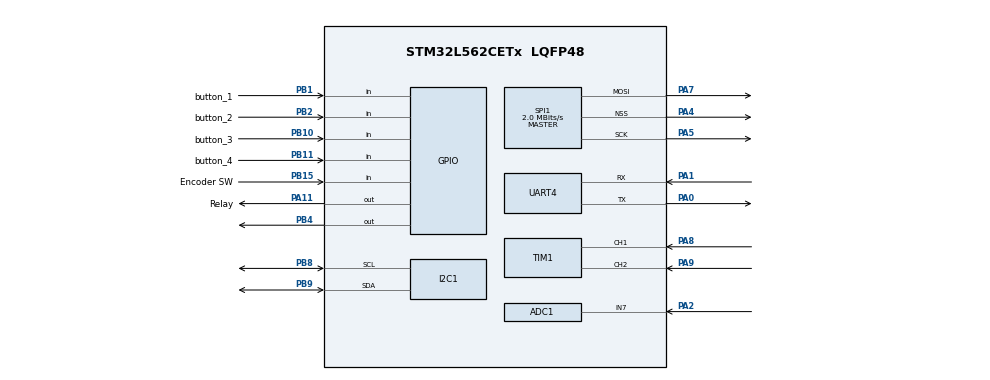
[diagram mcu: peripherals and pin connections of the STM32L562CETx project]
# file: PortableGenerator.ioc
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ADC1.Channel-2\#ChannelRegularConversion=ADC_CHANNEL_7
ADC1.ContinuousConvMode=ENABLE
ADC1.NbrOfConversion=1
ADC1.NbrOfConversionFlag=1
ADC1.OffsetNumber-2\#ChannelRegularConversion=ADC_OFFSET_NONE
ADC1.Overrun=ADC_OVR_DATA_OVERWRITTEN
ADC1.Rank-2\#ChannelRegularConversion=1
ADC1.SamplingTime-2\#ChannelRegularConversion=ADC_SAMPLETIME_2CYCLES_5
ADC1.master=1
Mcu.Family=STM32L5
Mcu.Name=STM32L562CETx
Mcu.Package=LQFP48
NVIC.ADC1_2_IRQn=true\:0\:0\:false\:false\:true\:true\:true\:true
NVIC.PriorityGroup=NVIC_PRIORITYGROUP_3
PA0.Mode=Asynchronous
PA0.Signal=UART4_TX
PA1.Mode=Asynchronous
PA1.Signal=UART4_RX
PA11.GPIO_Label=Relay
PA11.Signal=GPIO_Output
PA13\ (JTMS/SWDIO).Mode=JTAG_4_pins
PA13\ (JTMS/SWDIO).Signal=DEBUG_JTMS-SWDIO
PA14\ (JTCK/SWCLK).Mode=JTAG_4_pins
PA14\ (JTCK/SWCLK).Signal=DEBUG_JTCK-SWCLK
PA15\ (JTDI).Mode=JTAG_4_pins
PA15\ (JTDI).Signal=DEBUG_JTDI
PA2.Signal=ADCx_IN7
PA4.Mode=NSS_Signal_Hard_Output
PA4.Signal=SPI1_NSS
PA5.Mode=TX_Only_Simplex_Unidirect_Master
PA5.Signal=SPI1_SCK
PA7.Mode=TX_Only_Simplex_Unidirect_Master
PA7.Signal=SPI1_MOSI
PA8.Signal=S_TIM1_CH1
PA9.Signal=S_TIM1_CH2
PB1.GPIO_Label=button_1
PB1.Signal=GPIO_Input
PB10.GPIO_Label=button_3
PB10.Signal=GPIO_Input
PB11.GPIO_Label=button_4
PB11.Signal=GPIO_Input
PB15.GPIO_Label=Encoder SW
PB15.Signal=GPIO_Input
PB2.GPIO_Label=button_2
PB2.Signal=GPIO_Input
PB3\ (JTDO/TRACESWO).Mode=JTAG_4_pins
PB3\ (JTDO/TRACESWO).Signal=DEBUG_JTDO-SWO
PB4\ (NJTRST).Signal=GPIO_Output
PB8.Mode=I2C
PB8.Signal=I2C1_SCL
PB9.Mode=I2C
PB9.Signal=I2C1_SDA
PH0-OSC_IN\ (PH0).Mode=HSE-External-Oscillator
PH0-OSC_IN\ (PH0).Signal=RCC_OSC_IN
PH1-OSC_OUT\ (PH1).Mode=HSE-External-Oscillator
PH1-OSC_OUT\ (PH1).Signal=RCC_OSC_OUT
ProjectManager.HeapSize=0x200
ProjectManager.StackSize=0x400
ProjectManager.TargetToolchain=STM32CubeIDE
RCC.ADCFreq_Value=32000000
RCC.HSE_VALUE=16000000
RCC.HSI48_VALUE=48000000
RCC.HSI_VALUE=16000000
RCC.LSE_VALUE=32768
RCC.MSI_VALUE=4000000
RCC.PLLSAI1N=16
RCC.USBFreq_Value=32000000
RCC.VCOOutputFreq_Value=32000000
SH.ADCx_IN7.0=ADC1_IN7,IN7-Single-Ended
SH.S_TIM1_CH1.0=TIM1_CH1,Encoder_Interface
SH.S_TIM1_CH2.0=TIM1_CH2,Encoder_Interface
SPI1.CalculateBaudRate=2.0 MBits/s
SPI1.Direction=SPI_DIRECTION_2LINES
SPI1.Mode=SPI_MODE_MASTER
SPI1.VirtualNSS=VM_NSSHARD
SPI1.VirtualType=VM_MASTER
TIM1.EncoderMode=TIM_ENCODERMODE_TI12
TIM1.IC1Polarity=TIM_ICPOLARITY_FALLING
TIM1.IC2Polarity=TIM_ICPOLARITY_FALLING
board=custom

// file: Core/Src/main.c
/* USER CODE BEGIN Header */
/**
 ******************************************************************************
 * @file           : main.c
 * @brief          : Main program body
 ******************************************************************************
 * @attention
 *
 * Copyright (c) 2023 STMicroelectronics.
 * All rights reserved.
 *
 * This software is licensed under terms that can be found in the LICENSE file
 * in the root directory of this software component.
 * If no LICENSE file comes with this software, it is provided AS-IS.
 *
 ******************************************************************************
 */
/* USER CODE END Header */
#include "main.h"

/* USER CODE BEGIN Includes */
#include <string.h>
#include <stdio.h>
#include "liquidcrystal_i2c.h"
/* USER CODE END Includes */

ADC_HandleTypeDef hadc1;

I2C_HandleTypeDef hi2c1;

SPI_HandleTypeDef hspi1;

TIM_HandleTypeDef htim1;

UART_HandleTypeDef huart4;

/* USER CODE BEGIN PV */

							//Impedance switch state
uint8_t currentstate=0;

							//Rotary encoder
uint32_t encoderValue = 0;

/* USER CODE END PV */

void SystemClock_Config(void);
static void MX_GPIO_Init(void);
static void MX_TIM1_Init(void);
static void MX_I2C1_Init(void);
static void MX_UART4_Init(void);
static void MX_SPI1_Init(void);
static void MX_ADC1_Init(void);

/* USER CODE BEGIN 0 */

								//ADC
	uint16_t adc_value;
	uint8_t battery_voltage;
	float adc_voltage(int adc_value)
	{
		float reference=3.0;
		float adc_voltage=(adc_value/4095)*reference;

		return adc_voltage;
	}

								//Rotary encoder

	void HAL_TIM_IC_CaptureCallback(TIM_HandleTypeDef *htim)
	{
		encoderValue = __HAL_TIM_GET_COUNTER(&htim1);
	}

/* USER CODE END 0 */

int main(void)
{
  /* USER CODE BEGIN 1 */

					//Impedance Switch toggle state function
	void ToggleState(void)
	{
		currentstate=1-currentstate;
	}

  /* USER CODE END 1 */

  /* MCU Configuration--------------------------------------------------------*/

  /* Reset of all peripherals, Initializes the Flash interface and the Systick. */
  HAL_Init();

  /* Configure the system clock */
  SystemClock_Config();

  /* Initialize all configured peripherals */
  MX_GPIO_Init();
  MX_TIM1_Init();
  MX_I2C1_Init();
  MX_UART4_Init();
  MX_SPI1_Init();
  MX_ADC1_Init();
  /* USER CODE BEGIN 2 */

  	  	  //LCD Display initialization
  HD44780_Init(2);

  	  	  //Rotary encoder initialization
  HAL_TIM_Encoder_Start_IT(&htim1, TIM_CHANNEL_ALL);

  /* USER CODE END 2 */

  /* Infinite loop */
  /* USER CODE BEGIN WHILE */
	while (1)
	{

								//Impedance switch
	if (HAL_GPIO_ReadPin(GPIOB, GPIO_PIN_11)==GPIO_PIN_RESET)
	{
		HAL_GPIO_TogglePin(GPIOA, GPIO_PIN_11);
		ToggleState();
		HAL_Delay(500);

		if (currentstate == 0)
		{
			HD44780_SetCursor(10,1);
			HD44780_PrintStr("HighZ");
		}
		else
		{
			HD44780_SetCursor(12,1);
			HD44780_PrintStr("50Ω");
		}

	}

							//Battery voltage measurement & low battery warning
	HAL_ADC_Start(&hadc1);
	HAL_ADC_PollForConversion(&hadc1, HAL_MAX_DELAY);
	adc_value=HAL_ADC_GetValue(&hadc1);
	battery_voltage=adc_voltage(adc_value);

	if (battery_voltage <= 3.5)
	{
		HAL_GPIO_WritePin(GPIOB, GPIO_PIN_4, GPIO_PIN_SET);
		//HAL_GPIO_TogglePin(GPIOB, GPIO_PIN_4);
		HAL_Delay(1000);
	}
	else
	{
		HAL_GPIO_WritePin(GPIOB, GPIO_PIN_4, GPIO_PIN_RESET);
		HAL_Delay(1000);
	}

    /* USER CODE END WHILE */

	}
}

void SystemClock_Config(void)
{
  RCC_OscInitTypeDef RCC_OscInitStruct = {0};
  RCC_ClkInitTypeDef RCC_ClkInitStruct = {0};

  /** Configure the main internal regulator output voltage
  */
  if (HAL_PWREx_ControlVoltageScaling(PWR_REGULATOR_VOLTAGE_SCALE2) != HAL_OK)
  {
    Error_Handler();
  }

  /** Initializes the RCC Oscillators according to the specified parameters
  * in the RCC_OscInitTypeDef structure.
  */
  RCC_OscInitStruct.OscillatorType = RCC_OSCILLATORTYPE_MSI;
  RCC_OscInitStruct.MSIState = RCC_MSI_ON;
  RCC_OscInitStruct.MSICalibrationValue = RCC_MSICALIBRATION_DEFAULT;
  RCC_OscInitStruct.MSIClockRange = RCC_MSIRANGE_6;
  RCC_OscInitStruct.PLL.PLLState = RCC_PLL_NONE;
  if (HAL_RCC_OscConfig(&RCC_OscInitStruct) != HAL_OK)
  {
    Error_Handler();
  }

  /** Initializes the CPU, AHB and APB buses clocks
  */
  RCC_ClkInitStruct.ClockType = RCC_CLOCKTYPE_HCLK|RCC_CLOCKTYPE_SYSCLK
                              |RCC_CLOCKTYPE_PCLK1|RCC_CLOCKTYPE_PCLK2;
  RCC_ClkInitStruct.SYSCLKSource = RCC_SYSCLKSOURCE_MSI;
  RCC_ClkInitStruct.AHBCLKDivider = RCC_SYSCLK_DIV1;
  RCC_ClkInitStruct.APB1CLKDivider = RCC_HCLK_DIV1;
  RCC_ClkInitStruct.APB2CLKDivider = RCC_HCLK_DIV1;

  if (HAL_RCC_ClockConfig(&RCC_ClkInitStruct, FLASH_LATENCY_0) != HAL_OK)
  {
    Error_Handler();
  }
}

static void MX_ADC1_Init(void)
{

  ADC_MultiModeTypeDef multimode = {0};
  ADC_ChannelConfTypeDef sConfig = {0};

  /** Common config
  */
  hadc1.Instance = ADC1;
  hadc1.Init.ClockPrescaler = ADC_CLOCK_ASYNC_DIV1;
  hadc1.Init.Resolution = ADC_RESOLUTION_12B;
  hadc1.Init.DataAlign = ADC_DATAALIGN_RIGHT;
  hadc1.Init.ScanConvMode = ADC_SCAN_DISABLE;
  hadc1.Init.EOCSelection = ADC_EOC_SINGLE_CONV;
  hadc1.Init.LowPowerAutoWait = DISABLE;
  hadc1.Init.ContinuousConvMode = ENABLE;
  hadc1.Init.NbrOfConversion = 1;
  hadc1.Init.DiscontinuousConvMode = DISABLE;
  hadc1.Init.ExternalTrigConv = ADC_SOFTWARE_START;
  hadc1.Init.ExternalTrigConvEdge = ADC_EXTERNALTRIGCONVEDGE_NONE;
  hadc1.Init.DMAContinuousRequests = DISABLE;
  hadc1.Init.Overrun = ADC_OVR_DATA_OVERWRITTEN;
  hadc1.Init.OversamplingMode = DISABLE;
  if (HAL_ADC_Init(&hadc1) != HAL_OK)
  {
    Error_Handler();
  }

  /** Configure the ADC multi-mode
  */
  multimode.Mode = ADC_MODE_INDEPENDENT;
  if (HAL_ADCEx_MultiModeConfigChannel(&hadc1, &multimode) != HAL_OK)
  {
    Error_Handler();
  }

  /** Configure Regular Channel
  */
  sConfig.Channel = ADC_CHANNEL_7;
  sConfig.Rank = ADC_REGULAR_RANK_1;
  sConfig.SamplingTime = ADC_SAMPLETIME_2CYCLES_5;
  sConfig.SingleDiff = ADC_SINGLE_ENDED;
  sConfig.OffsetNumber = ADC_OFFSET_NONE;
  sConfig.Offset = 0;
  if (HAL_ADC_ConfigChannel(&hadc1, &sConfig) != HAL_OK)
  {
    Error_Handler();
  }

}

static void MX_I2C1_Init(void)
{

  hi2c1.Instance = I2C1;
  hi2c1.Init.Timing = 0x00000E14;
  hi2c1.Init.OwnAddress1 = 0;
  hi2c1.Init.AddressingMode = I2C_ADDRESSINGMODE_7BIT;
  hi2c1.Init.DualAddressMode = I2C_DUALADDRESS_DISABLE;
  hi2c1.Init.OwnAddress2 = 0;
  hi2c1.Init.OwnAddress2Masks = I2C_OA2_NOMASK;
  hi2c1.Init.GeneralCallMode = I2C_GENERALCALL_DISABLE;
  hi2c1.Init.NoStretchMode = I2C_NOSTRETCH_DISABLE;
  if (HAL_I2C_Init(&hi2c1) != HAL_OK)
  {
    Error_Handler();
  }

  /** Configure Analogue filter
  */
  if (HAL_I2CEx_ConfigAnalogFilter(&hi2c1, I2C_ANALOGFILTER_ENABLE) != HAL_OK)
  {
    Error_Handler();
  }

  /** Configure Digital filter
  */
  if (HAL_I2CEx_ConfigDigitalFilter(&hi2c1, 0) != HAL_OK)
  {
    Error_Handler();
  }

}

static void MX_SPI1_Init(void)
{

  /* SPI1 parameter configuration*/
  hspi1.Instance = SPI1;
  hspi1.Init.Mode = SPI_MODE_MASTER;
  hspi1.Init.Direction = SPI_DIRECTION_2LINES;
  hspi1.Init.DataSize = SPI_DATASIZE_4BIT;
  hspi1.Init.CLKPolarity = SPI_POLARITY_LOW;
  hspi1.Init.CLKPhase = SPI_PHASE_1EDGE;
  hspi1.Init.NSS = SPI_NSS_HARD_OUTPUT;
  hspi1.Init.BaudRatePrescaler = SPI_BAUDRATEPRESCALER_2;
  hspi1.Init.FirstBit = SPI_FIRSTBIT_MSB;
  hspi1.Init.TIMode = SPI_TIMODE_DISABLE;
  hspi1.Init.CRCCalculation = SPI_CRCCALCULATION_DISABLE;
  hspi1.Init.CRCPolynomial = 7;
  hspi1.Init.CRCLength = SPI_CRC_LENGTH_DATASIZE;
  hspi1.Init.NSSPMode = SPI_NSS_PULSE_ENABLE;
  if (HAL_SPI_Init(&hspi1) != HAL_OK)
  {
    Error_Handler();
  }

}

static void MX_TIM1_Init(void)
{

  TIM_Encoder_InitTypeDef sConfig = {0};
  TIM_MasterConfigTypeDef sMasterConfig = {0};

  htim1.Instance = TIM1;
  htim1.Init.Prescaler = 0;
  htim1.Init.CounterMode = TIM_COUNTERMODE_UP;
  htim1.Init.Period = 65535;
  htim1.Init.ClockDivision = TIM_CLOCKDIVISION_DIV1;
  htim1.Init.RepetitionCounter = 0;
  htim1.Init.AutoReloadPreload = TIM_AUTORELOAD_PRELOAD_DISABLE;
  sConfig.EncoderMode = TIM_ENCODERMODE_TI12;
  sConfig.IC1Polarity = TIM_ICPOLARITY_FALLING;
  sConfig.IC1Selection = TIM_ICSELECTION_DIRECTTI;
  sConfig.IC1Prescaler = TIM_ICPSC_DIV1;
  sConfig.IC1Filter = 0;
  sConfig.IC2Polarity = TIM_ICPOLARITY_FALLING;
  sConfig.IC2Selection = TIM_ICSELECTION_DIRECTTI;
  sConfig.IC2Prescaler = TIM_ICPSC_DIV1;
  sConfig.IC2Filter = 0;
  if (HAL_TIM_Encoder_Init(&htim1, &sConfig) != HAL_OK)
  {
    Error_Handler();
  }
  sMasterConfig.MasterOutputTrigger = TIM_TRGO_RESET;
  sMasterConfig.MasterOutputTrigger2 = TIM_TRGO2_RESET;
  sMasterConfig.MasterSlaveMode = TIM_MASTERSLAVEMODE_DISABLE;
  if (HAL_TIMEx_MasterConfigSynchronization(&htim1, &sMasterConfig) != HAL_OK)
  {
    Error_Handler();
  }

}

static void MX_UART4_Init(void)
{

  huart4.Instance = UART4;
  huart4.Init.BaudRate = 115200;
  huart4.Init.WordLength = UART_WORDLENGTH_8B;
  huart4.Init.StopBits = UART_STOPBITS_1;
  huart4.Init.Parity = UART_PARITY_NONE;
  huart4.Init.Mode = UART_MODE_TX_RX;
  huart4.Init.HwFlowCtl = UART_HWCONTROL_NONE;
  huart4.Init.OverSampling = UART_OVERSAMPLING_16;
  huart4.Init.OneBitSampling = UART_ONE_BIT_SAMPLE_DISABLE;
  huart4.Init.ClockPrescaler = UART_PRESCALER_DIV1;
  huart4.AdvancedInit.AdvFeatureInit = UART_ADVFEATURE_NO_INIT;
  if (HAL_UART_Init(&huart4) != HAL_OK)
  {
    Error_Handler();
  }
  if (HAL_UARTEx_SetTxFifoThreshold(&huart4, UART_TXFIFO_THRESHOLD_1_8) != HAL_OK)
  {
    Error_Handler();
  }
  if (HAL_UARTEx_SetRxFifoThreshold(&huart4, UART_RXFIFO_THRESHOLD_1_8) != HAL_OK)
  {
    Error_Handler();
  }
  if (HAL_UARTEx_DisableFifoMode(&huart4) != HAL_OK)
  {
    Error_Handler();
  }

}

static void MX_GPIO_Init(void)
{
  GPIO_InitTypeDef GPIO_InitStruct = {0};

  /* GPIO Ports Clock Enable */
  __HAL_RCC_GPIOH_CLK_ENABLE();
  __HAL_RCC_GPIOA_CLK_ENABLE();
  __HAL_RCC_GPIOB_CLK_ENABLE();

  /*Configure GPIO pin Output Level */
  HAL_GPIO_WritePin(Relay_GPIO_Port, Relay_Pin, GPIO_PIN_RESET);

  /*Configure GPIO pin Output Level */
  HAL_GPIO_WritePin(GPIOB, GPIO_PIN_4, GPIO_PIN_RESET);

  /*Configure GPIO pins : button_1_Pin button_2_Pin button_3_Pin button_4_Pin
                           Encoder_SW_Pin */
  GPIO_InitStruct.Pin = button_1_Pin|button_2_Pin|button_3_Pin|button_4_Pin
                          |Encoder_SW_Pin;
  GPIO_InitStruct.Mode = GPIO_MODE_INPUT;
  GPIO_InitStruct.Pull = GPIO_NOPULL;
  HAL_GPIO_Init(GPIOB, &GPIO_InitStruct);

  /*Configure GPIO pin : Relay_Pin */
  GPIO_InitStruct.Pin = Relay_Pin;
  GPIO_InitStruct.Mode = GPIO_MODE_OUTPUT_PP;
  GPIO_InitStruct.Pull = GPIO_NOPULL;
  GPIO_InitStruct.Speed = GPIO_SPEED_FREQ_LOW;
  HAL_GPIO_Init(Relay_GPIO_Port, &GPIO_InitStruct);

  /*Configure GPIO pin : PB4 */
  GPIO_InitStruct.Pin = GPIO_PIN_4;
  GPIO_InitStruct.Mode = GPIO_MODE_OUTPUT_PP;
  GPIO_InitStruct.Pull = GPIO_NOPULL;
  GPIO_InitStruct.Speed = GPIO_SPEED_FREQ_LOW;
  HAL_GPIO_Init(GPIOB, &GPIO_InitStruct);

}

void Error_Handler(void)
{
	__disable_irq();
	while (1)
	{
	}
}
